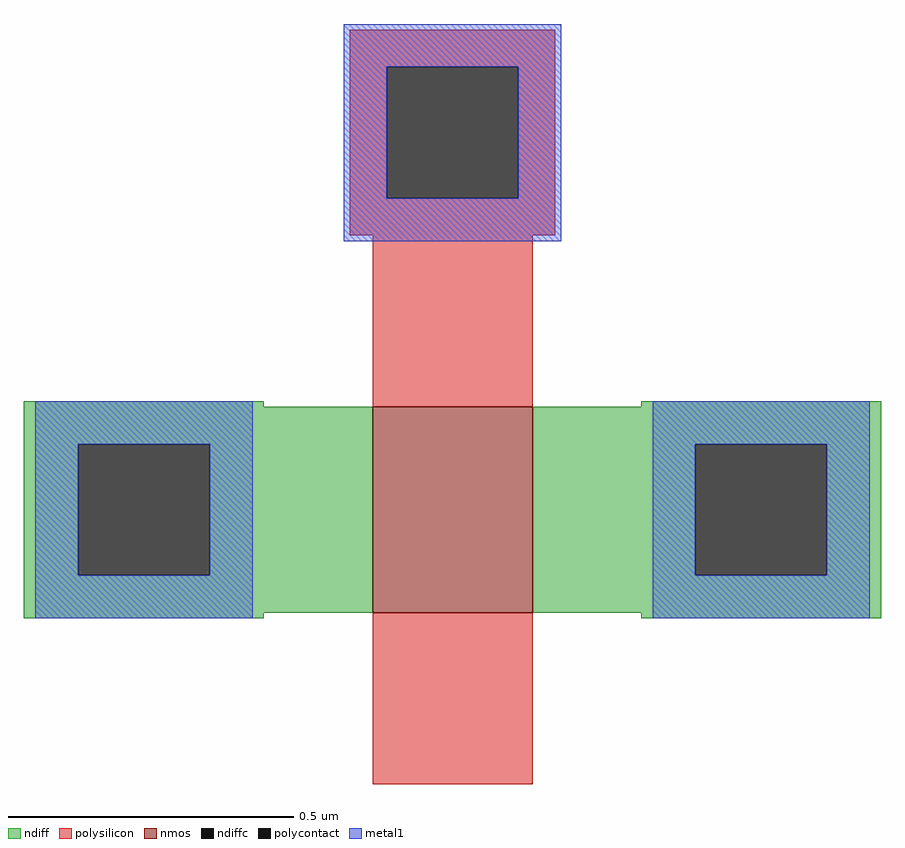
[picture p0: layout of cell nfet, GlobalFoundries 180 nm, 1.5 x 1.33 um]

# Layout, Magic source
magic
tech gf180mcuD
magscale 1 10
<< nmos >>
rect 38 0 94 72
<< ndiff >>
rect -84 72 0 74
rect 132 72 216 74
rect -84 59 38 72
rect -84 13 -65 59
rect -19 13 38 59
rect -84 0 38 13
rect 94 59 216 72
rect 94 13 151 59
rect 197 13 216 59
rect 94 0 216 13
rect -84 -2 0 0
rect 132 -2 216 0
<< ndiffc >>
rect -65 13 -19 59
rect 151 13 197 59
<< polysilicon >>
rect 30 191 102 204
rect 30 145 43 191
rect 89 145 102 191
rect 30 132 102 145
rect 38 72 94 132
rect 38 -60 94 0
<< polycontact >>
rect 43 145 89 191
<< metal1 >>
rect 28 191 104 206
rect 28 145 43 191
rect 89 145 104 191
rect 28 130 104 145
rect -80 59 -4 74
rect -80 13 -65 59
rect -19 13 -4 59
rect -80 -2 -4 13
rect 136 59 212 74
rect 136 13 151 59
rect 197 13 212 59
rect 136 -2 212 13
<< end >>
